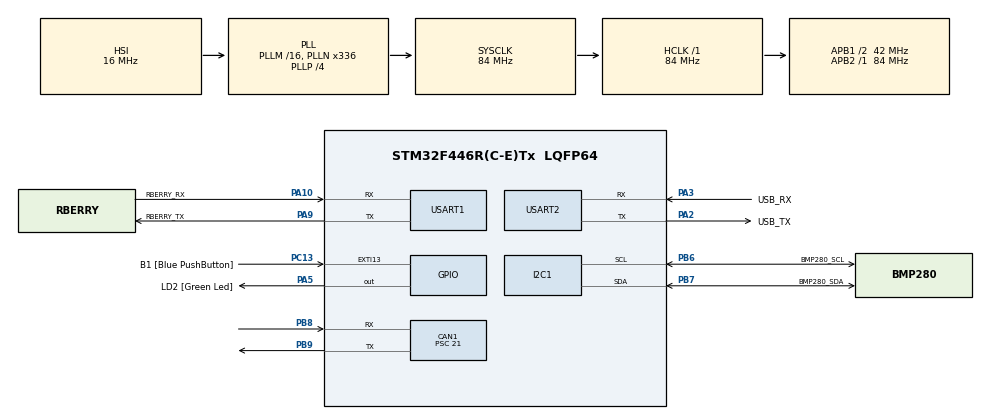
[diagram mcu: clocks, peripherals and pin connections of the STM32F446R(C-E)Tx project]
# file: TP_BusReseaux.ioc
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CAN1.BS1=CAN_BS1_2TQ
CAN1.CalculateBaudRate=500000
CAN1.CalculateTimeBit=2000
CAN1.CalculateTimeQuantum=500.0
CAN1.Prescaler=21
Mcu.Family=STM32F4
Mcu.Name=STM32F446R(C-E)Tx
Mcu.Package=LQFP64
NVIC.PriorityGroup=NVIC_PRIORITYGROUP_0
NVIC.USART1_IRQn=true\:0\:0\:false\:false\:true\:true\:true\:true
PA10.GPIO_Label=RBERRY_RX
PA10.Mode=Asynchronous
PA10.Signal=USART1_RX
PA13.GPIO_Label=TMS
PA13.Mode=Serial_Wire
PA13.Signal=SYS_JTMS-SWDIO
PA14.GPIO_Label=TCK
PA14.Mode=Serial_Wire
PA14.Signal=SYS_JTCK-SWCLK
PA2.GPIO_Label=USB_TX
PA2.Mode=Asynchronous
PA2.Signal=USART2_TX
PA3.GPIO_Label=USB_RX
PA3.Mode=Asynchronous
PA3.Signal=USART2_RX
PA5.GPIO_Label=LD2 [Green Led]
PA5.Signal=GPIO_Output
PA9.GPIO_Label=RBERRY_TX
PA9.Mode=Asynchronous
PA9.Signal=USART1_TX
PB3.GPIO_Label=SWO
PB3.Signal=SYS_JTDO-SWO
PB6.GPIO_Label=BMP280_SCL
PB6.Mode=I2C
PB6.Signal=I2C1_SCL
PB7.GPIO_Label=BMP280_SDA
PB7.Mode=I2C
PB7.Signal=I2C1_SDA
PB8.Mode=CAN_Activate
PB8.Signal=CAN1_RX
PB9.Mode=CAN_Activate
PB9.Signal=CAN1_TX
PC13.GPIO_Label=B1 [Blue PushButton]
PC13.GPIO_ModeDefaultEXTI=GPIO_MODE_IT_FALLING
PC13.Signal=GPXTI13
PC14-OSC32_IN.Mode=LSE-External-Oscillator
PC14-OSC32_IN.Signal=RCC_OSC32_IN
PC15-OSC32_OUT.Mode=LSE-External-Oscillator
PC15-OSC32_OUT.Signal=RCC_OSC32_OUT
PH0-OSC_IN.Mode=HSE-External-Oscillator
PH0-OSC_IN.Signal=RCC_OSC_IN
PH1-OSC_OUT.Mode=HSE-External-Oscillator
PH1-OSC_OUT.Signal=RCC_OSC_OUT
ProjectManager.HeapSize=0x200
ProjectManager.StackSize=0x400
ProjectManager.TargetToolchain=STM32CubeIDE
RCC.48MHZClocksFreq_Value=84000000
RCC.AHBFreq_Value=84000000
RCC.APB1CLKDivider=RCC_HCLK_DIV2
RCC.APB1Freq_Value=42000000
RCC.APB1TimFreq_Value=84000000
RCC.APB2Freq_Value=84000000
RCC.APB2TimFreq_Value=84000000
RCC.CortexFreq_Value=84000000
RCC.FLatency-AdvancedSettings=FLASH_LATENCY_2
RCC.HCLKFreq_Value=84000000
RCC.HSE_VALUE=8000000
RCC.HSI_VALUE=16000000
RCC.PLLN=336
RCC.PLLP=RCC_PLLP_DIV4
RCC.SYSCLKFreq_VALUE=84000000
RCC.SYSCLKSource=RCC_SYSCLKSOURCE_PLLCLK
RCC.USBFreq_Value=168000000
RCC.VCOOutputFreq_Value=336000000
USART1.VirtualMode=VM_ASYNC
USART2.VirtualMode=VM_ASYNC
board=NUCLEO-F446RE

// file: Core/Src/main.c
/* USER CODE BEGIN Header */
/**
 ******************************************************************************
 * @file           : main.c
 * @brief          : Main program body
 ******************************************************************************
 * @attention
 *
 * Copyright (c) 2025 STMicroelectronics.
 * All rights reserved.
 *
 * This software is licensed under terms that can be found in the LICENSE file
 * in the root directory of this software component.
 * If no LICENSE file comes with this software, it is provided AS-IS.
 *
 ******************************************************************************
 */
/* USER CODE END Header */
#include "main.h"
#include "can.h"
#include "i2c.h"
#include "usart.h"
#include "gpio.h"
/* USER CODE BEGIN Includes */
#include "stdio.h"
#include "bmp280.h"
#include "interface_stm32_raspberry.h"
#include "tja1050.h"
/* USER CODE END Includes */

/* USER CODE BEGIN PD */
#define RX_BUF_SIZE 32
/* USER CODE END PD */

/* USER CODE BEGIN PV */
uint8_t rx_buf[RX_BUF_SIZE];
uint8_t rx_pos = 0;
uint8_t cmd_received = 0;
/* USER CODE END PV */

void SystemClock_Config(void);

/* USER CODE BEGIN 0 */
int __io_putchar(int chr)
{
	HAL_UART_Transmit(&huart1, (uint8_t*) &chr, 1, HAL_MAX_DELAY);
	HAL_UART_Transmit(&huart2, (uint8_t*) &chr, 1, HAL_MAX_DELAY);
	return chr;
}
/* USER CODE END 0 */

int main(void)
{

	/* MCU Configuration--------------------------------------------------------*/

	/* Reset of all peripherals, Initializes the Flash interface and the Systick. */
	HAL_Init();

	/* Configure the system clock */
	SystemClock_Config();

	/* Initialize all configured peripherals */
	MX_GPIO_Init();
	MX_USART2_UART_Init();
	MX_CAN1_Init();
	MX_I2C1_Init();
	MX_USART1_UART_Init();
	/* USER CODE BEGIN 2 */

	printf("\n\r=========== BUS&RESEAU ===========\n\r");

	// Code MOTEUR pour rotation de +90 et -90 degrés
	/*
	motor_test_loop();
	*/

	// Code BMP280 pour capture et affichage de température et pression compensées et non compensées
	bmp280_init();
	bmp280_print_temperature_pressure();

	/* USER CODE END 2 */

	/* Infinite loop */
	while (1)
	{

		/* USER CODE BEGIN 3 */

		//interface_stm32_raspberry_process_command();

	}
	/* USER CODE END 3 */
}

void SystemClock_Config(void)
{
	RCC_OscInitTypeDef RCC_OscInitStruct = {0};
	RCC_ClkInitTypeDef RCC_ClkInitStruct = {0};

	/** Configure the main internal regulator output voltage
	 */
	__HAL_RCC_PWR_CLK_ENABLE();
	__HAL_PWR_VOLTAGESCALING_CONFIG(PWR_REGULATOR_VOLTAGE_SCALE3);

	/** Initializes the RCC Oscillators according to the specified parameters
	 * in the RCC_OscInitTypeDef structure.
	 */
	RCC_OscInitStruct.OscillatorType = RCC_OSCILLATORTYPE_HSI;
	RCC_OscInitStruct.HSIState = RCC_HSI_ON;
	RCC_OscInitStruct.HSICalibrationValue = RCC_HSICALIBRATION_DEFAULT;
	RCC_OscInitStruct.PLL.PLLState = RCC_PLL_ON;
	RCC_OscInitStruct.PLL.PLLSource = RCC_PLLSOURCE_HSI;
	RCC_OscInitStruct.PLL.PLLM = 16;
	RCC_OscInitStruct.PLL.PLLN = 336;
	RCC_OscInitStruct.PLL.PLLP = RCC_PLLP_DIV4;
	RCC_OscInitStruct.PLL.PLLQ = 2;
	RCC_OscInitStruct.PLL.PLLR = 2;
	if (HAL_RCC_OscConfig(&RCC_OscInitStruct) != HAL_OK)
	{
		Error_Handler();
	}

	/** Initializes the CPU, AHB and APB buses clocks
	 */
	RCC_ClkInitStruct.ClockType = RCC_CLOCKTYPE_HCLK|RCC_CLOCKTYPE_SYSCLK
			|RCC_CLOCKTYPE_PCLK1|RCC_CLOCKTYPE_PCLK2;
	RCC_ClkInitStruct.SYSCLKSource = RCC_SYSCLKSOURCE_PLLCLK;
	RCC_ClkInitStruct.AHBCLKDivider = RCC_SYSCLK_DIV1;
	RCC_ClkInitStruct.APB1CLKDivider = RCC_HCLK_DIV2;
	RCC_ClkInitStruct.APB2CLKDivider = RCC_HCLK_DIV1;

	if (HAL_RCC_ClockConfig(&RCC_ClkInitStruct, FLASH_LATENCY_2) != HAL_OK)
	{
		Error_Handler();
	}
}

/* USER CODE BEGIN 4 */
void HAL_UART_RxCpltCallback(UART_HandleTypeDef *huart)
{
	if (huart->Instance == USART1)   // UART vers Raspberry Pi
	{
		uint8_t c = rx_buf[rx_pos];

		if (c == '\n' || c == '\r') {
			rx_buf[rx_pos] = 0;
			cmd_received = 1;
			rx_pos = 0;
		} else {
			if (rx_pos < RX_BUF_SIZE-1) rx_pos++;
		}

		HAL_UART_Receive_IT(&huart1, &rx_buf[rx_pos], 1);
	}
}
/* USER CODE END 4 */

void Error_Handler(void)
{
	__disable_irq();
	while (1)
	{
	}
}
